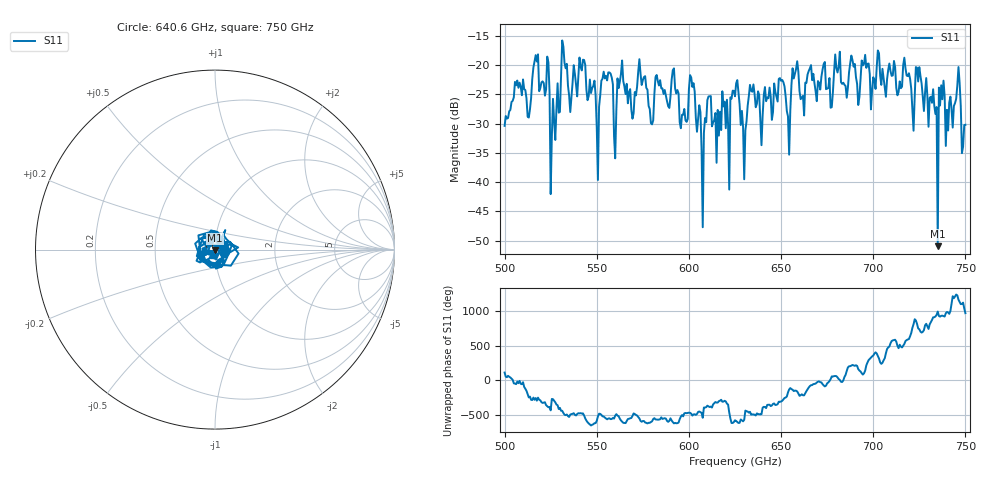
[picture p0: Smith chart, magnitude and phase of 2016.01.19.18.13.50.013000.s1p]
!Created with skrf (http://scikit-rf.org).
# GHz S RI R 50.0
!freq ReS11 ImS11
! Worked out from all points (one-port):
!   401 points, 500 GHz to 750 GHz, reference 50 ohm
!   lowest |S11| = -50.9 dB at 735 GHz (marker M1), VSWR 1.01, Z = 50 - j0.284 ohm
!   |S11| at or under -10 dB: start of sweep to end of sweep
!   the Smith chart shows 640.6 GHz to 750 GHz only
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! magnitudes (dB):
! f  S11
! 500 GHz  -30.4
! 513.1 GHz  -29.0
! 516.9 GHz  -18.3
! 523.1 GHz  -18.6
! 526.2 GHz  -25.8
! 531.2 GHz  -15.8
! 542.5 GHz  -19.1
! 550.6 GHz  -39.6
! 553.8 GHz  -21.2
! 560.6 GHz  -27.8
! 562.5 GHz  -22.9
! 593.8 GHz  -24.3
! 601.9 GHz  -23.8
! 608.1 GHz  -31.6
! 610.6 GHz  -25.4
! 620.6 GHz  -25.9
! 625 GHz  -25.4
! 629.4 GHz  -30.6
! 633.8 GHz  -24.4
! 650 GHz  -22.7
! 653.8 GHz  -28.8
! 656.2 GHz  -20.6
! 687.5 GHz  -19.7
! 718.8 GHz  -21.9
! 735 GHz  -50.9
! 736.9 GHz  -23.5
! 745.6 GHz  -23.5
! 750 GHz  -30.2
